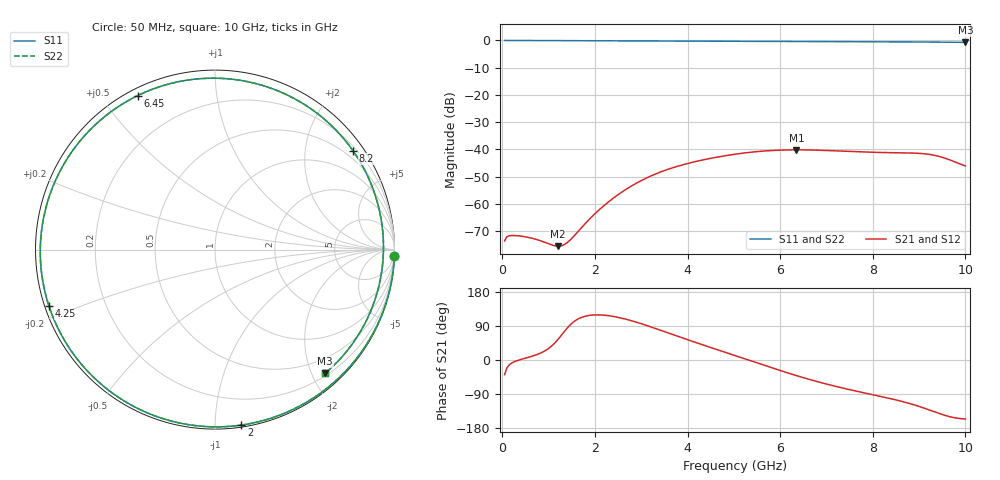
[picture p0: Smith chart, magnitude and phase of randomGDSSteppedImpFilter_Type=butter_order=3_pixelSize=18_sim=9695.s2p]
! freq	dB(S11)	phase(S11)	dB(S12)	phase(S12)
!  dB(S21)	phase(S21)	dB(S22)	phase(S22)
!S-par simulation data
#  GHz  S  DB  R 50
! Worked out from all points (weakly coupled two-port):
!   200 points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, 50 MHz to 10 GHz, reference 50 ohm
!   highest |S21| = -40.15 dB at 6.35 GHz (marker M1); lowest = -75.5 dB at 1.2 GHz (marker M2)
!   lowest |S11| = -0.7 dB at 10 GHz (marker M3), VSWR 24.86, Z = 11.9 - j110 ohm
!   |S11| at or under -10 dB: nowhere
!   |S22| runs from -0.7 to 0.0 dB; largest |S21 - S12| = 0
!   S11 on the Smith chart (normalised r, x): 50 MHz: 0, -54; 2 GHz: 0.01, -1.16; 4.25 GHz: 0.01, -0.17; 6.45 GHz: 0.03, +0.62; 8.2 GHz: 0.30, +3.10; 10 GHz: 0.24, -2.21
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0.05  -0.00 -2.1  -73.58 -38.7  -73.58 -38.7  -0.00 -2.1
0.15  -0.00 -6.4  -71.69 -12.9  -71.69 -12.9  -0.00 -6.4
0.35  -0.01 -14.9  -71.72 -0.5  -71.72 -0.5  -0.01 -14.9
1.2  -0.06 -50.2  -75.51 53.9  -75.51 53.9  -0.06 -50.2
1.4  -0.07 -58.2  -74.22 84.1  -74.22 84.1  -0.07 -58.2
1.75  -0.09 -71.9  -67.97 114.1  -67.97 114.1  -0.09 -71.9
2  -0.10 -81.5  -63.61 119.0  -63.61 119.0  -0.10 -81.5
2.65  -0.13 -105.5  -54.89 108.3  -54.89 108.3  -0.13 -105.5
3.4  -0.16 -131.9  -48.39 79.2  -48.39 79.2  -0.16 -131.9
4.25  -0.20 -161.1  -44.16 43.2  -44.16 43.2  -0.20 -161.1
5.05  -0.25 170.9  -41.70 10.7  -41.70 10.7  -0.25 170.9
5.7  -0.30 146.8  -40.53 -15.8  -40.53 -15.8  -0.30 146.8
6.35  -0.35 120.9  -40.15 -41.2  -40.15 -41.2  -0.35 120.9
6.45  -0.35 116.7  -40.16 -44.8  -40.16 -44.8  -0.35 116.7
6.7  -0.37 106.0  -40.23 -53.6  -40.23 -53.6  -0.37 106.0
7.45  -0.43 71.9  -40.71 -76.8  -40.71 -76.8  -0.43 71.8
8.2  -0.48 35.5  -41.14 -97.0  -41.14 -97.0  -0.48 35.5
8.35  -0.50 28.1  -41.18 -101.1  -41.18 -101.1  -0.50 28.1
8.7  -0.53 11.0  -41.27 -111.6  -41.27 -111.6  -0.53 11.0
9.1  -0.57 -8.2  -41.58 -126.7  -41.58 -126.7  -0.57 -8.2
9.5  -0.62 -26.6  -42.89 -144.0  -42.89 -144.0  -0.62 -26.6
10  -0.70 -48.4  -46.09 -155.6  -46.09 -155.6  -0.70 -48.4
